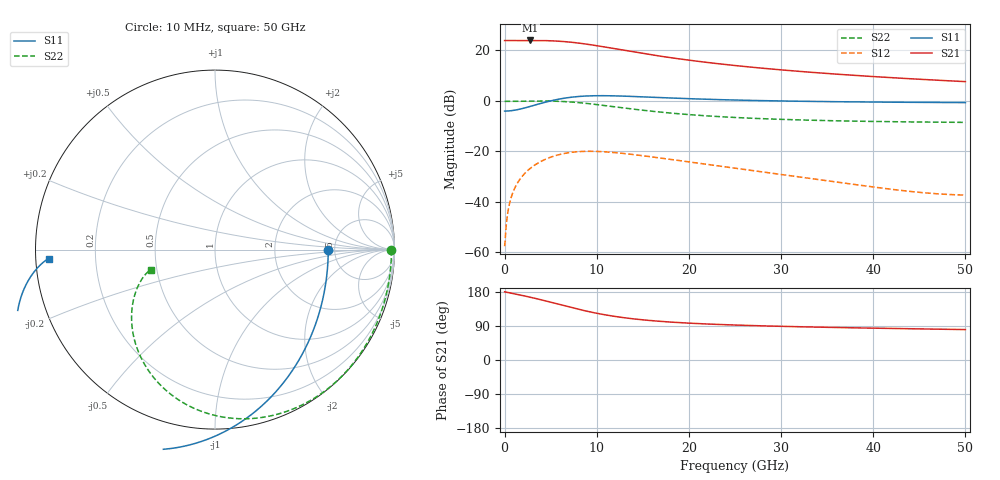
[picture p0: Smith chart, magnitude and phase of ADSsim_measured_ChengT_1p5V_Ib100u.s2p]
! Created Wed Apr 08 16:03:33 2026
# hz S ma R 50
! 2 Port Network Data from SP1.SP block
! freq  magS11  angS11  magS21  angS21  magS12  angS12  magS22  angS22
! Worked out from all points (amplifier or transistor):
!   1001 points, 10 MHz to 50 GHz, reference 50 ohm
!   highest |S21| = 24.0 dB at 2.809 GHz (marker M1)
!   |S21| within 3 dB of that: start of sweep to 11.53 GHz
!   unconditionally stable (mu >= 1): start of sweep to 29.77 MHz; 45.58 GHz to end of sweep
!   at 8.308 GHz: K = -0.47, MSG = 21.4 dB, |S12| = -20.0 dB
!   at 25 GHz: K = -0.52, MSG = 20.3 dB, |S12| = -26.6 dB
!   at 50 GHz: K = 1.56, MAG = 18.1 dB, |S12| = -37.3 dB
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1e7  0.6309 -0.2  15.75 180.0  0.001333 7.2  0.9833 -0.1
4.5991e8  0.6356 -9.8  15.75 177.7  0.007913 76.1  0.9837 -5.1
9.0982e8  0.649 -19.2  15.76 175.5  0.01546 76.6  0.9848 -10.2
2.80944e9  0.7826 -54.5  15.8 165.6  0.04654 62.0  0.9944 -31.6
4.10918e9  0.9135 -74.0  15.74 158.1  0.06571 49.8  0.9984 -46.4
5.30894e9  1.035 -89.4  15.49 150.7  0.08053 38.1  0.9929 -60.0
6.15877e9  1.111 -99.1  15.16 145.3  0.08876 29.9  0.9808 -69.4
6.90862e9  1.166 -107.1  14.77 140.6  0.09425 22.8  0.9641 -77.4
7.60848e9  1.208 -113.9  14.33 136.3  0.09783 16.4  0.9436 -84.5
8.35833e9  1.24 -120.5  13.79 132.0  0.1001 9.9  0.9172 -91.7
9.15817e9  1.262 -127.0  13.15 127.6  0.1009 3.4  0.8855 -98.9
1.005799e10  1.273 -133.4  12.41 123.1  0.1003 -3.4  0.8473 -106.2
1.115777e10  1.272 -140.2  11.49 118.2  0.09771 -10.7  0.7998 -114.2
1.230754e10  1.258 -146.1  10.58 113.8  0.09375 -17.4  0.752 -121.3
1.435713e10  1.221 -154.1  9.145 107.6  0.08518 -27.1  0.6765 -131.4
1.670666e10  1.172 -160.6  7.818 102.4  0.07505 -35.4  0.6076 -139.9
2.025595e10  1.107 -166.7  6.346 96.9  0.06136 -43.9  0.5333 -148.4
2.5005e10  1.044 -171.3  5.037 92.2  0.04679 -50.2  0.4715 -154.9
2.890422e10  1.009 -173.4  4.303 89.5  0.03745 -52.3  0.4396 -158.0
3.335333e10  0.9803 -174.8  3.69 87.0  0.02899 -51.6  0.4154 -160.1
4.170166e10  0.9473 -176.3  2.916 83.3  0.01809 -39.6  0.3895 -161.8
5e10  0.9288 -176.9  2.418 80.3  0.01371 -11.1  0.3768 -162.1
